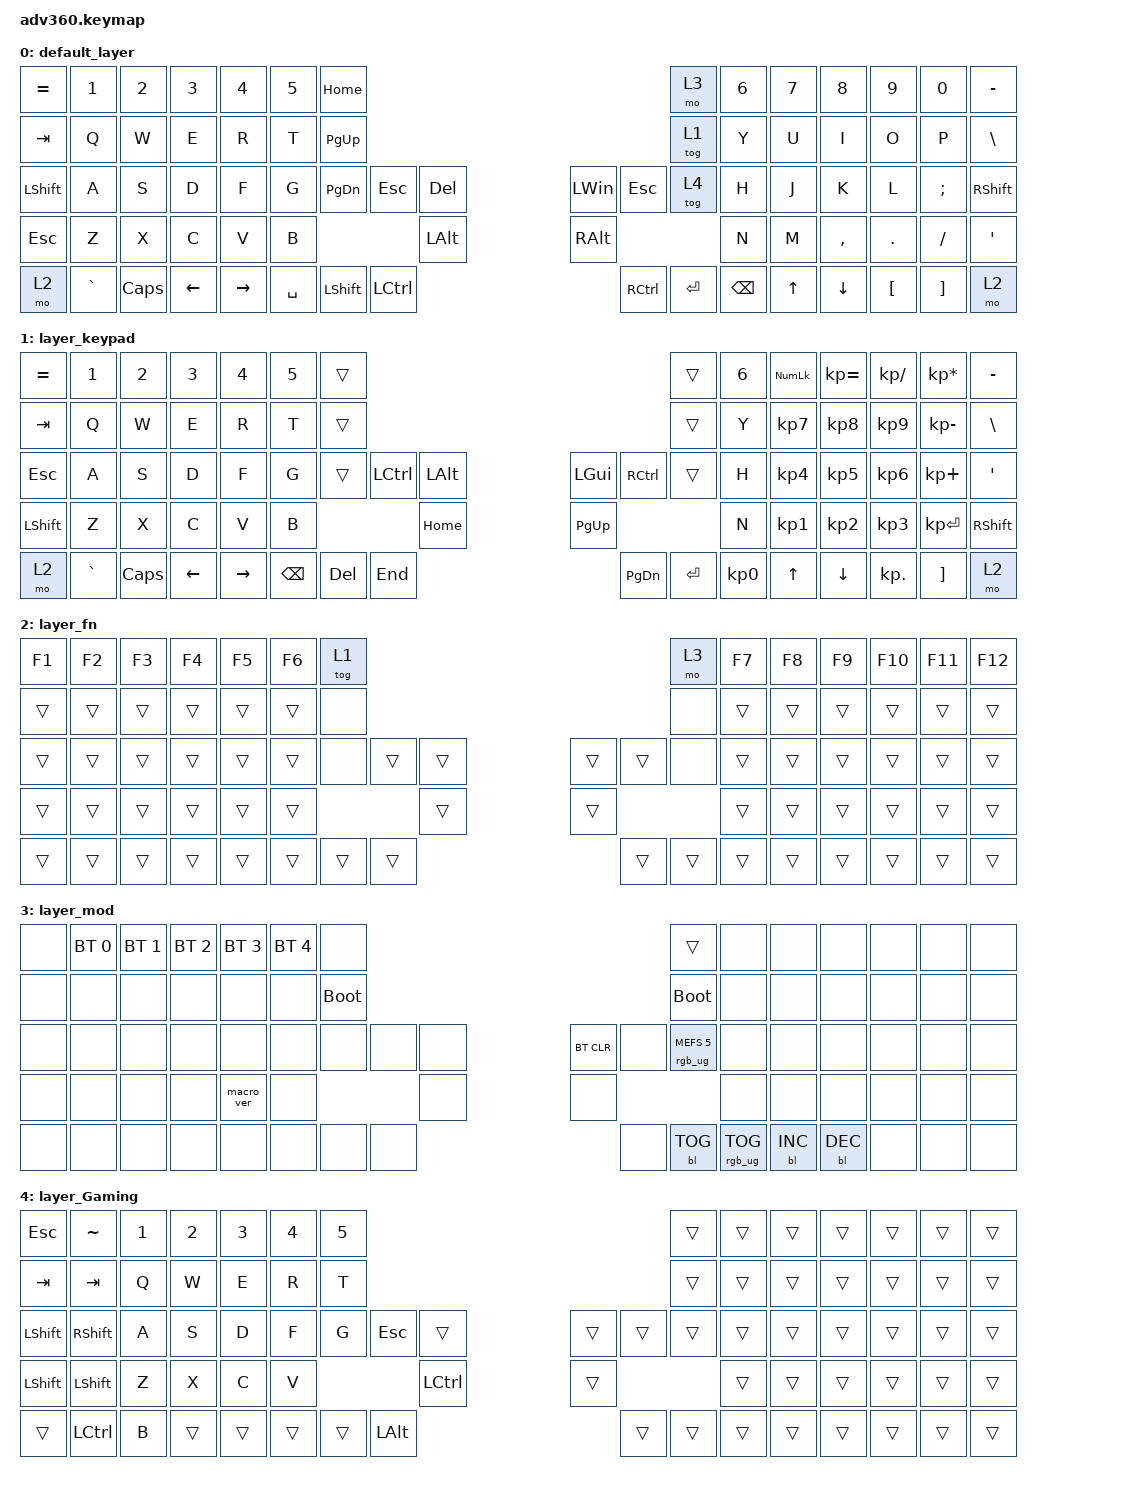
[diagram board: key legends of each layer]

/*
 * Copyright (c) 2020 The ZMK Contributors
 *
 * SPDX-License-Identifier: MIT
 */


/* THIS FILE WAS GENERATED!
 *
 * This file was generated automatically. You may or may not want to
 * edit it directly.
 */

#include <behaviors.dtsi>
#include <dt-bindings/zmk/keys.h>
#include <dt-bindings/zmk/bt.h>
#include <dt-bindings/zmk/rgb.h>
#include <dt-bindings/zmk/backlight.h>

/ {
  behaviors {
    #include "macros.dtsi"
    #include "version.dtsi"

    hm: homerow_mods {
        compatible = "zmk,behavior-hold-tap";
        label = "HOMEROW_MODS";
        #binding-cells = <2>;
        tapping-term-ms = <200>;
        quick_tap_ms = <175>;
        flavor = "tap-preferred";
        bindings = <&kp>, <&kp>;
    };
  };

    keymap {
        compatible = "zmk,keymap";


        default_layer {
            bindings = <
      &kp EQUAL     &kp N1    &kp N2    &kp N3     &kp N4  &kp N5                 &kp HOME                                                                                  &mo 3  &kp N6  &kp N7     &kp N8    &kp N9    &kp N0        &kp MINUS
        &kp TAB      &kp Q     &kp W     &kp E      &kp R   &kp T              &kp PAGE_UP                                                                                 &tog 1   &kp Y   &kp U      &kp I     &kp O     &kp P         &kp BSLH
 &kp LEFT_SHIFT      &kp A     &kp S     &kp D      &kp F   &kp G            &kp PAGE_DOWN         &kp ESC    &kp DELETE                   &kp LEFT_WIN    &kp ESC         &tog 4   &kp H   &kp J      &kp K     &kp L  &kp SEMI  &kp RIGHT_SHIFT
        &kp ESC      &kp Z     &kp X     &kp C      &kp V   &kp B                                           &kp LEFT_ALT                  &kp RIGHT_ALT                             &kp N   &kp M  &kp COMMA   &kp DOT  &kp FSLH   &kp APOSTROPHE
          &mo 2  &kp GRAVE  &kp CAPS  &kp LEFT  &kp RIGHT                        &kp SPACE  &kp LEFT_SHIFT     &kp LCTRL                      &kp RCTRL  &kp ENTER  &kp BACKSPACE          &kp UP   &kp DOWN  &kp LBKT  &kp RBKT            &mo 2
            >;
        };

        layer_keypad {
            bindings = <
 &kp EQUAL     &kp N1    &kp N2    &kp N3     &kp N4  &kp N5              &trans                                                                &trans  &kp N6  &kp KP_NUM  &kp KP_EQUAL  &kp KP_DIVIDE  &kp KP_MULTIPLY  &kp MINUS
   &kp TAB      &kp Q     &kp W     &kp E      &kp R   &kp T              &trans                                                                &trans   &kp Y   &kp KP_N7     &kp KP_N8      &kp KP_N9     &kp KP_MINUS   &kp BSLH
   &kp ESC      &kp A     &kp S     &kp D      &kp F   &kp G              &trans  &kp LCTRL  &kp LALT                   &kp LGUI  &kp RCTRL     &trans   &kp H   &kp KP_N4     &kp KP_N5      &kp KP_N6      &kp KP_PLUS    &kp SQT
 &kp LSHFT      &kp Z     &kp X     &kp C      &kp V   &kp B                                 &kp HOME                  &kp PG_UP                         &kp N   &kp KP_N1     &kp KP_N2      &kp KP_N3     &kp KP_ENTER  &kp RSHFT
     &mo 2  &kp GRAVE  &kp CAPS  &kp LEFT  &kp RIGHT                    &kp BSPC    &kp DEL   &kp END                  &kp PG_DN  &kp ENTER  &kp KP_N0              &kp UP      &kp DOWN     &kp KP_DOT         &kp RBKT      &mo 2
            >;
        };

        layer_fn {
            bindings = <
 &kp F1  &kp F2  &kp F3  &kp F4  &kp F5  &kp F6            &tog 1                                                   &mo 3  &kp F7  &kp F8  &kp F9  &kp F10  &kp F11  &kp F12
 &trans  &trans  &trans  &trans  &trans  &trans             &none                                                   &none  &trans  &trans  &trans   &trans   &trans   &trans
 &trans  &trans  &trans  &trans  &trans  &trans             &none  &trans  &trans                  &trans  &trans   &none  &trans  &trans  &trans   &trans   &trans   &trans
 &trans  &trans  &trans  &trans  &trans  &trans                            &trans                  &trans                  &trans  &trans  &trans   &trans   &trans   &trans
 &trans  &trans  &trans  &trans  &trans                    &trans  &trans  &trans                  &trans  &trans  &trans          &trans  &trans   &trans   &trans   &trans
            >;
        };

        layer_mod {
            bindings = <
  &none  &bt BT_SEL 0  &bt BT_SEL 1  &bt BT_SEL 2  &bt BT_SEL 3  &bt BT_SEL 4                  &none                                                                          &trans   &none       &none       &none   &none   &none   &none
  &none         &none         &none         &none         &none         &none            &bootloader                                                                     &bootloader   &none       &none       &none   &none   &none   &none
  &none         &none         &none         &none         &none         &none                  &none   &none   &none                  &bt BT_CLR       &none  &rgb_ug RGB_MEFS_CMD 5   &none       &none       &none   &none   &none   &none
  &none         &none         &none         &none    &macro_ver         &none                                  &none                       &none                                       &none       &none       &none   &none   &none   &none
  &none         &none         &none         &none         &none                                &none   &none   &none                       &none  &bl BL_TOG         &rgb_ug RGB_TOG          &bl BL_INC  &bl BL_DEC   &none   &none   &none
            >;
        };

        layer_Gaming {
            bindings = <
     &kp ESCAPE         &kp TILDE  &kp NUMBER_1  &kp NUMBER_2  &kp NUMBER_3  &kp NUMBER_4            &kp NUMBER_5                                                             &trans  &trans  &trans  &trans  &trans  &trans  &trans
        &kp TAB           &kp TAB         &kp Q         &kp W         &kp E         &kp R                   &kp T                                                             &trans  &trans  &trans  &trans  &trans  &trans  &trans
 &kp LEFT_SHIFT   &kp RIGHT_SHIFT         &kp A         &kp S         &kp D         &kp F                   &kp G  &kp ESC            &trans                  &trans  &trans  &trans  &trans  &trans  &trans  &trans  &trans  &trans
 &kp LEFT_SHIFT    &kp LEFT_SHIFT         &kp Z         &kp X         &kp C         &kp V                                   &kp LEFT_CONTROL                  &trans                  &trans  &trans  &trans  &trans  &trans  &trans
         &trans  &kp LEFT_CONTROL         &kp B        &trans        &trans                                &trans   &trans      &kp LEFT_ALT                  &trans  &trans  &trans          &trans  &trans  &trans  &trans  &trans
            >;
        };

    };
};
